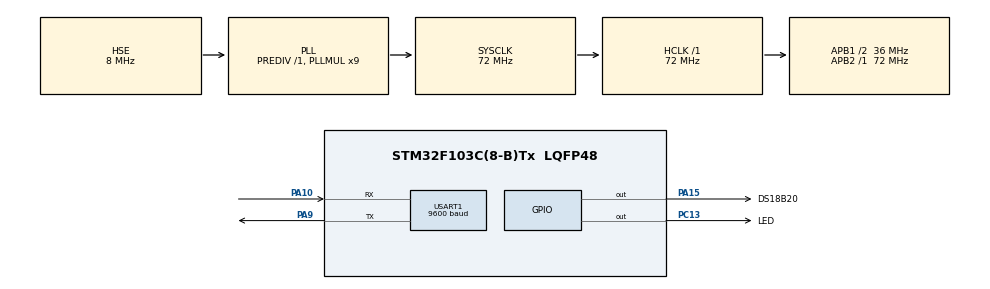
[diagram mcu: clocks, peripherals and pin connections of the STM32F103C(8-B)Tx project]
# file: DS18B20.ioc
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Mcu.Family=STM32F1
Mcu.Name=STM32F103C(8-B)Tx
Mcu.Package=LQFP48
NVIC.PriorityGroup=NVIC_PRIORITYGROUP_4
PA10.Mode=Asynchronous
PA10.Signal=USART1_RX
PA13.Mode=Serial_Wire
PA13.Signal=SYS_JTMS-SWDIO
PA14.Mode=Serial_Wire
PA14.Signal=SYS_JTCK-SWCLK
PA15.GPIO_Label=DS18B20
PA15.Signal=GPIO_Output
PA9.Mode=Asynchronous
PA9.Signal=USART1_TX
PC13-TAMPER-RTC.GPIO_Label=LED
PC13-TAMPER-RTC.Signal=GPIO_Output
PD0-OSC_IN.Mode=HSE-External-Oscillator
PD0-OSC_IN.Signal=RCC_OSC_IN
PD1-OSC_OUT.Mode=HSE-External-Oscillator
PD1-OSC_OUT.Signal=RCC_OSC_OUT
ProjectManager.HeapSize=0x200
ProjectManager.StackSize=0x400
ProjectManager.TargetToolchain=STM32CubeIDE
RCC.AHBFreq_Value=72000000
RCC.APB1CLKDivider=RCC_HCLK_DIV2
RCC.APB1Freq_Value=36000000
RCC.APB1TimFreq_Value=72000000
RCC.APB2Freq_Value=72000000
RCC.APB2TimFreq_Value=72000000
RCC.HCLKFreq_Value=72000000
RCC.PLLMUL=RCC_PLL_MUL9
RCC.PLLSourceVirtual=RCC_PLLSOURCE_HSE
RCC.SYSCLKFreq_VALUE=72000000
RCC.SYSCLKSource=RCC_SYSCLKSOURCE_PLLCLK
RCC.USBFreq_Value=72000000
TIM4.Period=0xffff-1
TIM4.Prescaler=72-1
USART1.BaudRate=9600
USART1.VirtualMode=VM_ASYNC
VP_TIM4_VS_ClockSourceINT.Mode=Internal
board=custom

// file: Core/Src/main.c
/* USER CODE BEGIN Header */
/**
 ******************************************************************************
 * @file           : main.c
 * @brief          : Main program body
 ******************************************************************************
 * @attention
 *
 * <h2><center>&copy; Copyright (c) 2023 STMicroelectronics.
 * All rights reserved.</center></h2>
 *
 * This software component is licensed by ST under BSD 3-Clause license,
 * the "License"; You may not use this file except in compliance with the
 * License. You may obtain a copy of the License at:
 *                        opensource.org/licenses/BSD-3-Clause
 *
 ******************************************************************************
 */
/* USER CODE END Header */
#include "main.h"

/* USER CODE BEGIN Includes */
#include "stdio.h"
#include "DS18B20.h"
/* USER CODE END Includes */

TIM_HandleTypeDef htim4;
UART_HandleTypeDef huart1;

/* USER CODE BEGIN PV */
DS18B20_Name DS1;
float Temp;
uint8_t Temp1, Temp2, Temp3, Temp4;
uint8_t tx_data[30] = { '\0' };
/* USER CODE END PV */

void SystemClock_Config(void);
static void MX_GPIO_Init(void);
static void MX_TIM4_Init(void);
static void MX_USART1_UART_Init(void);

/* USER CODE BEGIN 0 */
int _write(int file, char *ptr, int len) {
	HAL_UART_Transmit(&huart1, (uint8_t*) ptr, len, HAL_MAX_DELAY);
	return len;
}
/* USER CODE END 0 */

int main(void) {

	/* MCU Configuration--------------------------------------------------------*/

	/* Reset of all peripherals, Initializes the Flash interface and the Systick. */
	HAL_Init();

	/* Configure the system clock */
	SystemClock_Config();

	/* Initialize all configured peripherals */
	MX_GPIO_Init();
	MX_TIM4_Init();
	MX_USART1_UART_Init();
	/* USER CODE BEGIN 2 */
	HAL_TIM_Base_Start(&htim4);
	DS18B20_Init(&DS1, &htim4, DS18B20_GPIO_Port, DS18B20_Pin);
	//HAL_GPIO_WritePin(LED_GPIO_Port, LED_Pin, 1);
	/* USER CODE END 2 */

	/* Infinite loop */
	/* USER CODE BEGIN WHILE */
	while (1) {
		Temp = DS18B20_ReadTemp(&DS1);
		Temp1 = (Temp / 10) + 48;

		Temp2 = ((int)Temp % 10) + 48;

		Temp = Temp * 10;
		Temp3 = ((int)Temp % 10) + 48;
		Temp = Temp * 10;
		Temp4 = ((int)Temp % 10) + 48;
		sprintf(tx_data, "Temp :%d%d.%d%d\r\n", Temp1, Temp2, Temp3, Temp4);
		HAL_UART_Transmit(&huart1, tx_data, sizeof(tx_data), 200);
		//printf("%f\r\n", tx_data);
		HAL_Delay(1000);
		/* USER CODE END WHILE */

	}
}

void SystemClock_Config(void) {
	RCC_OscInitTypeDef RCC_OscInitStruct = { 0 };
	RCC_ClkInitTypeDef RCC_ClkInitStruct = { 0 };

	/** Initializes the RCC Oscillators according to the specified parameters
	 * in the RCC_OscInitTypeDef structure.
	 */
	RCC_OscInitStruct.OscillatorType = RCC_OSCILLATORTYPE_HSE;
	RCC_OscInitStruct.HSEState = RCC_HSE_ON;
	RCC_OscInitStruct.HSEPredivValue = RCC_HSE_PREDIV_DIV1;
	RCC_OscInitStruct.HSIState = RCC_HSI_ON;
	RCC_OscInitStruct.PLL.PLLState = RCC_PLL_ON;
	RCC_OscInitStruct.PLL.PLLSource = RCC_PLLSOURCE_HSE;
	RCC_OscInitStruct.PLL.PLLMUL = RCC_PLL_MUL9;
	if (HAL_RCC_OscConfig(&RCC_OscInitStruct) != HAL_OK) {
		Error_Handler();
	}
	/** Initializes the CPU, AHB and APB buses clocks
	 */
	RCC_ClkInitStruct.ClockType = RCC_CLOCKTYPE_HCLK | RCC_CLOCKTYPE_SYSCLK
			| RCC_CLOCKTYPE_PCLK1 | RCC_CLOCKTYPE_PCLK2;
	RCC_ClkInitStruct.SYSCLKSource = RCC_SYSCLKSOURCE_PLLCLK;
	RCC_ClkInitStruct.AHBCLKDivider = RCC_SYSCLK_DIV1;
	RCC_ClkInitStruct.APB1CLKDivider = RCC_HCLK_DIV2;
	RCC_ClkInitStruct.APB2CLKDivider = RCC_HCLK_DIV1;

	if (HAL_RCC_ClockConfig(&RCC_ClkInitStruct, FLASH_LATENCY_2) != HAL_OK) {
		Error_Handler();
	}
}

static void MX_TIM4_Init(void) {

	TIM_ClockConfigTypeDef sClockSourceConfig = { 0 };
	TIM_MasterConfigTypeDef sMasterConfig = { 0 };

	htim4.Instance = TIM4;
	htim4.Init.Prescaler = 72 - 1;
	htim4.Init.CounterMode = TIM_COUNTERMODE_UP;
	htim4.Init.Period = 0xffff - 1;
	htim4.Init.ClockDivision = TIM_CLOCKDIVISION_DIV1;
	htim4.Init.AutoReloadPreload = TIM_AUTORELOAD_PRELOAD_DISABLE;
	if (HAL_TIM_Base_Init(&htim4) != HAL_OK) {
		Error_Handler();
	}
	sClockSourceConfig.ClockSource = TIM_CLOCKSOURCE_INTERNAL;
	if (HAL_TIM_ConfigClockSource(&htim4, &sClockSourceConfig) != HAL_OK) {
		Error_Handler();
	}
	sMasterConfig.MasterOutputTrigger = TIM_TRGO_RESET;
	sMasterConfig.MasterSlaveMode = TIM_MASTERSLAVEMODE_DISABLE;
	if (HAL_TIMEx_MasterConfigSynchronization(&htim4, &sMasterConfig)
			!= HAL_OK) {
		Error_Handler();
	}

}

static void MX_USART1_UART_Init(void) {

	huart1.Instance = USART1;
	huart1.Init.BaudRate = 9600;
	huart1.Init.WordLength = UART_WORDLENGTH_8B;
	huart1.Init.StopBits = UART_STOPBITS_1;
	huart1.Init.Parity = UART_PARITY_NONE;
	huart1.Init.Mode = UART_MODE_TX_RX;
	huart1.Init.HwFlowCtl = UART_HWCONTROL_NONE;
	huart1.Init.OverSampling = UART_OVERSAMPLING_16;
	if (HAL_UART_Init(&huart1) != HAL_OK) {
		Error_Handler();
	}

}

static void MX_GPIO_Init(void) {
	GPIO_InitTypeDef GPIO_InitStruct = { 0 };

	/* GPIO Ports Clock Enable */
	__HAL_RCC_GPIOC_CLK_ENABLE();
	__HAL_RCC_GPIOD_CLK_ENABLE();
	__HAL_RCC_GPIOA_CLK_ENABLE();

	/*Configure GPIO pin Output Level */
	HAL_GPIO_WritePin(LED_GPIO_Port, LED_Pin, GPIO_PIN_RESET);

	/*Configure GPIO pin Output Level */
	HAL_GPIO_WritePin(DS18B20_GPIO_Port, DS18B20_Pin, GPIO_PIN_RESET);

	/*Configure GPIO pin : LED_Pin */
	GPIO_InitStruct.Pin = LED_Pin;
	GPIO_InitStruct.Mode = GPIO_MODE_OUTPUT_PP;
	GPIO_InitStruct.Pull = GPIO_NOPULL;
	GPIO_InitStruct.Speed = GPIO_SPEED_FREQ_LOW;
	HAL_GPIO_Init(LED_GPIO_Port, &GPIO_InitStruct);

	/*Configure GPIO pin : DS18B20_Pin */
	GPIO_InitStruct.Pin = DS18B20_Pin;
	GPIO_InitStruct.Mode = GPIO_MODE_OUTPUT_PP;
	GPIO_InitStruct.Pull = GPIO_NOPULL;
	GPIO_InitStruct.Speed = GPIO_SPEED_FREQ_LOW;
	HAL_GPIO_Init(DS18B20_GPIO_Port, &GPIO_InitStruct);

}

void Error_Handler(void) {
	__disable_irq();
	while (1) {
	}
}

/************************ (C) COPYRIGHT STMicroelectronics *****END OF FILE****/
